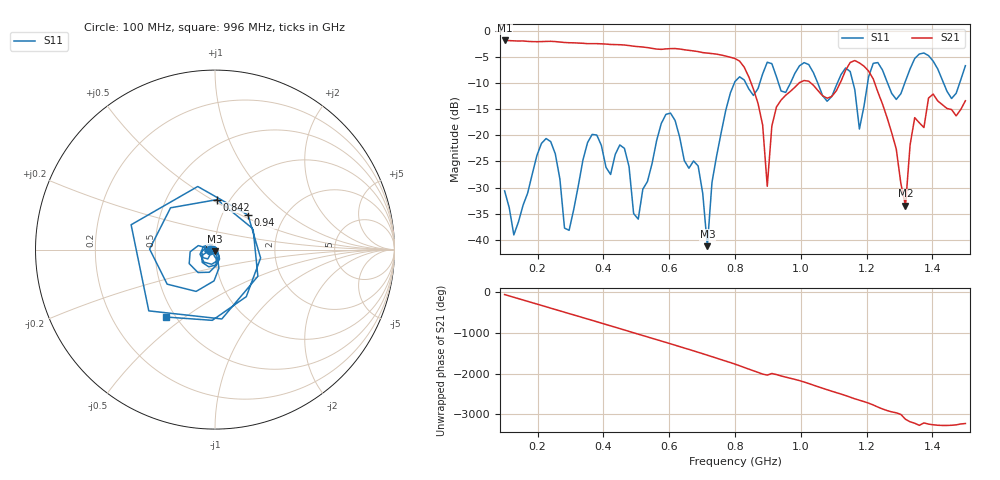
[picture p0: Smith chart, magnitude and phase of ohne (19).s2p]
! NanoVNA-App
! Date: 2025-09-25 14:20:57
! Start: 100MHz Stop: 1,5GHz Points: 101
! S-Parameter data: F S11 S21 S12 S22
# Hz S RI R 50
!  Frequency  S11_Real  S11_Imag  S21_Real  S21_Imag  S12_Real  S12_Imag  S22_Real  S22_Imag
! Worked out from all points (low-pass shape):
!   101 points, 100 MHz to 1.5 GHz, reference 50 ohm
!   highest |S21| = -1.79 dB at 100 MHz (marker M1); lowest = -33.5 dB at 1.318 GHz (marker M2)
!   |S21| within 3 dB of the highest: start of sweep to 772.2 MHz
!   lowest |S11| = -41.2 dB at 716 MHz (marker M3), VSWR 1.02, Z = 49.9 - j0.853 ohm
!   |S11| at or under -10 dB: start of sweep to 797.8 MHz; 833.1 MHz to 875.1 MHz (41.97 MHz wide, 4.91 % of centre); 1.052 GHz to 1.111 GHz (59.05 MHz wide, 5.46 % of centre) (the widest 3 of 7)
!   S12 and S22 are empty: the file has one direction only
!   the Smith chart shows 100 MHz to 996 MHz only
!   S11 on the Smith chart (normalised r, x): 100 MHz: 0.94, -0.01; 842 MHz: 0.87, +0.53; 940 MHz: 1.32, +0.55; 996 MHz: 0.44, -0.43
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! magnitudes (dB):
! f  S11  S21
! 100 MHz  -30.6  -1.8
! 128 MHz  -39.1  -1.9
! 226 MHz  -20.6  -2.0
! 296 MHz  -38.2  -2.2
! 338 MHz  -24.7  -2.3
! 464 MHz  -22.5  -2.7
! 506 MHz  -36.1  -3.0
! 576 MHz  -17.7  -3.5
! 688 MHz  -25.9  -3.9
! 716 MHz  -41.2  -4.2
! 800 MHz  -9.7  -5.3
! 842 MHz  -11.1  -8.8
! 898 MHz  -6.0  -29.8
! 940 MHz  -11.5  -13.2
! 996 MHz  -6.7  -9.9
! 1.038 GHz  -7.9  -10.4
! 1.178 GHz  -18.8  -6.1
! 1.22 GHz  -6.2  -9.2
! 1.276 GHz  -11.9  -19.5
! 1.318 GHz  -9.6  -33.5
! 1.346 GHz  -5.3  -16.6
! 1.5 GHz  -6.6  -13.4
